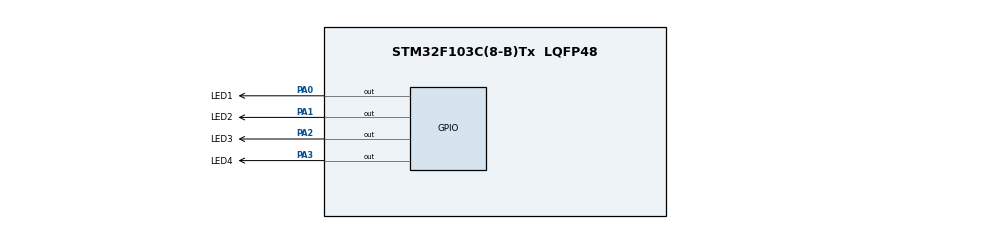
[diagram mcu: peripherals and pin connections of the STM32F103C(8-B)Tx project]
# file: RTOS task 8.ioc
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FREERTOS.BinarySemaphores01=CriticalResourceSemaphore,Dynamic,NULL,Available
FREERTOS.Tasks01=defaultTask,0,128,StartDefaultTask,Default,NULL,Dynamic,NULL,NULL;GreenLEDTask,0,128,green_led,Default,NULL,Dynamic,NULL,NULL;RedLEDTask,0,128,red_led,Default,NULL,Dynamic,NULL,NULL;YellowLEDTask,1,128,yellow_led,Default,NULL,Dynamic,NULL,NULL
Mcu.Family=STM32F1
Mcu.Name=STM32F103C(8-B)Tx
Mcu.Package=LQFP48
NVIC.PriorityGroup=NVIC_PRIORITYGROUP_4
NVIC.TIM4_IRQn=true\:15\:0\:false\:false\:true\:false\:false\:true\:true
NVIC.TimeBase=TIM4_IRQn
NVIC.TimeBaseIP=TIM4
PA0-WKUP.GPIO_Label=LED1
PA0-WKUP.Signal=GPIO_Output
PA1.GPIO_Label=LED2
PA1.Signal=GPIO_Output
PA13.Mode=Serial_Wire
PA13.Signal=SYS_JTMS-SWDIO
PA14.Mode=Serial_Wire
PA14.Signal=SYS_JTCK-SWCLK
PA2.GPIO_Label=LED3
PA2.Signal=GPIO_Output
PA3.GPIO_Label=LED4
PA3.Signal=GPIO_Output
ProjectManager.HeapSize=0x200
ProjectManager.StackSize=0x400
ProjectManager.TargetToolchain=STM32CubeIDE
RCC.APB1Freq_Value=8000000
RCC.APB2Freq_Value=8000000
VP_FREERTOS_VS_CMSIS_V1.Mode=CMSIS_V1
VP_SYS_VS_tim4.Mode=TIM4
board=custom

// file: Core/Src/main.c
/* USER CODE BEGIN Header */
/**
  ******************************************************************************
  * @file           : main.c
  * @brief          : Main program body
  ******************************************************************************
  * @attention
  *
  * Copyright (c) 2024 STMicroelectronics.
  * All rights reserved.
  *
  * This software is licensed under terms that can be found in the LICENSE file
  * in the root directory of this software component.
  * If no LICENSE file comes with this software, it is provided AS-IS.
  *
  ******************************************************************************
  */
/* USER CODE END Header */
#include "main.h"
#include "cmsis_os.h"

/* USER CODE BEGIN Includes */
#include <stdio.h>
/* USER CODE END Includes */

osThreadId defaultTaskHandle;
osThreadId GreenLEDTaskHandle;
osThreadId RedLEDTaskHandle;
osThreadId YellowLEDTaskHandle;
osSemaphoreId CriticalResourceSemaphoreHandle;
/* USER CODE BEGIN PV */
volatile uint8_t startFlag = 1;
volatile uint16_t WaitTimeMilliseconds = 0;
/* USER CODE END PV */

void SystemClock_Config(void);
static void MX_GPIO_Init(void);
void StartDefaultTask(void const * argument);
void green_led(void const * argument);
void red_led(void const * argument);
void yellow_led(void const * argument);

int main(void)
{

  /* MCU Configuration--------------------------------------------------------*/

  /* Reset of all peripherals, Initializes the Flash interface and the Systick. */
  HAL_Init();

  /* Configure the system clock */
  SystemClock_Config();

  /* Initialize all configured peripherals */
  MX_GPIO_Init();

  /* Create the semaphores(s) */
  /* definition and creation of CriticalResourceSemaphore */
  osSemaphoreDef(CriticalResourceSemaphore);
  CriticalResourceSemaphoreHandle = osSemaphoreCreate(osSemaphore(CriticalResourceSemaphore), 1);

  /* Create the thread(s) */
  /* definition and creation of defaultTask */
  osThreadDef(defaultTask, StartDefaultTask, osPriorityNormal, 0, 128);
  defaultTaskHandle = osThreadCreate(osThread(defaultTask), NULL);

  /* definition and creation of GreenLEDTask */
  osThreadDef(GreenLEDTask, green_led, osPriorityNormal, 0, 128);
  GreenLEDTaskHandle = osThreadCreate(osThread(GreenLEDTask), NULL);

  /* definition and creation of RedLEDTask */
  osThreadDef(RedLEDTask, red_led, osPriorityNormal, 0, 128);
  RedLEDTaskHandle = osThreadCreate(osThread(RedLEDTask), NULL);

  /* definition and creation of YellowLEDTask */
  osThreadDef(YellowLEDTask, yellow_led, osPriorityAboveNormal, 0, 128);
  YellowLEDTaskHandle = osThreadCreate(osThread(YellowLEDTask), NULL);

  /* Start scheduler */
  osKernelStart();

  /* We should never get here as control is now taken by the scheduler */

  /* Infinite loop */
  while (1)
  {

  }
}

void SystemClock_Config(void)
{
  RCC_OscInitTypeDef RCC_OscInitStruct = {0};
  RCC_ClkInitTypeDef RCC_ClkInitStruct = {0};

  /** Initializes the RCC Oscillators according to the specified parameters
  * in the RCC_OscInitTypeDef structure.
  */
  RCC_OscInitStruct.OscillatorType = RCC_OSCILLATORTYPE_HSI;
  RCC_OscInitStruct.HSIState = RCC_HSI_ON;
  RCC_OscInitStruct.HSICalibrationValue = RCC_HSICALIBRATION_DEFAULT;
  RCC_OscInitStruct.PLL.PLLState = RCC_PLL_NONE;
  if (HAL_RCC_OscConfig(&RCC_OscInitStruct) != HAL_OK)
  {
    Error_Handler();
  }

  /** Initializes the CPU, AHB and APB buses clocks
  */
  RCC_ClkInitStruct.ClockType = RCC_CLOCKTYPE_HCLK|RCC_CLOCKTYPE_SYSCLK
                              |RCC_CLOCKTYPE_PCLK1|RCC_CLOCKTYPE_PCLK2;
  RCC_ClkInitStruct.SYSCLKSource = RCC_SYSCLKSOURCE_HSI;
  RCC_ClkInitStruct.AHBCLKDivider = RCC_SYSCLK_DIV1;
  RCC_ClkInitStruct.APB1CLKDivider = RCC_HCLK_DIV1;
  RCC_ClkInitStruct.APB2CLKDivider = RCC_HCLK_DIV1;

  if (HAL_RCC_ClockConfig(&RCC_ClkInitStruct, FLASH_LATENCY_0) != HAL_OK)
  {
    Error_Handler();
  }
}

static void MX_GPIO_Init(void)
{
  GPIO_InitTypeDef GPIO_InitStruct = {0};

  /* GPIO Ports Clock Enable */
  __HAL_RCC_GPIOA_CLK_ENABLE();

  /*Configure GPIO pin Output Level */
  HAL_GPIO_WritePin(GPIOA, LED1_Pin|LED2_Pin|LED3_Pin|LED4_Pin, GPIO_PIN_RESET);

  /*Configure GPIO pins : LED1_Pin LED2_Pin LED3_Pin LED4_Pin */
  GPIO_InitStruct.Pin = LED1_Pin|LED2_Pin|LED3_Pin|LED4_Pin;
  GPIO_InitStruct.Mode = GPIO_MODE_OUTPUT_PP;
  GPIO_InitStruct.Pull = GPIO_NOPULL;
  GPIO_InitStruct.Speed = GPIO_SPEED_FREQ_LOW;
  HAL_GPIO_Init(GPIOA, &GPIO_InitStruct);

}

void StartDefaultTask(void const * argument)
{
  /* USER CODE BEGIN 5 */
  /* Infinite loop */
	for(;;)
	  {
	    osDelay(1);
	  }
	  /* USER CODE END StartDefaultTask */
  /* USER CODE END 5 */
}

void green_led(void const * argument)
{
  /* USER CODE BEGIN green_led */
  /* Infinite loop */
	for(;;)
	    {
	        HAL_GPIO_WritePin(GPIOA, GPIO_PIN_0, GPIO_PIN_SET);  // Nyalakan Green LED

	        osSemaphoreWait(CriticalResourceSemaphoreHandle, WaitTimeMilliseconds);
			accessSharedData();
			osSemaphoreRelease(CriticalResourceSemaphoreHandle);
			osDelay(200);

	        HAL_GPIO_WritePin(GPIOA, GPIO_PIN_0, GPIO_PIN_RESET);  // Matikan Green LED
	        osDelay(200);
	    }
  /* USER CODE END green_led */
}

void red_led(void const * argument)
{
  /* USER CODE BEGIN red_led */
  /* Infinite loop */
	for(;;)
	    {
	        HAL_GPIO_WritePin(GPIOA, GPIO_PIN_1, GPIO_PIN_SET);  // Nyalakan Red LED

	        osSemaphoreWait(CriticalResourceSemaphoreHandle, WaitTimeMilliseconds);

	            accessSharedData();

	            osSemaphoreRelease(CriticalResourceSemaphoreHandle);
	            osDelay(550);

	        HAL_GPIO_WritePin(GPIOA, GPIO_PIN_1, GPIO_PIN_RESET);  // Matikan Red LED
	        osDelay(550);
	    }
  /* USER CODE END red_led */
}

void accessSharedData(void) {
    if (startFlag == 1) {
        // Set Start flag to Down to indicate resource is in use
        startFlag = 0;
    } else {
        // Resource contention: Turn on Blue LED
        HAL_GPIO_WritePin(GPIOA, GPIO_PIN_3, GPIO_PIN_SET);
    }

    // Simulate read/write operations with a delay of 500 milliseconds
//    SimulateReadWriteOperation();
    HAL_Delay(500);

    // Set Start flag back to Up to indicate resource is free
    startFlag = 1;

    // Turn off Blue LED (if it was turned on during contention)
    HAL_GPIO_WritePin(GPIOA, GPIO_PIN_3, GPIO_PIN_RESET);
}

void SimulateReadWriteOperation(void) {
    volatile uint32_t delay_count = 0;
    const uint32_t delay_target = 2000000; // Adjust this value to approximate 500 ms

    // Dummy loop to simulate processing time
    for (delay_count = 0; delay_count < delay_target; delay_count++) {
        __asm("nop"); // No Operation: Keeps the processor busy without changing code behavior
    }
}
void yellow_led(void const * argument)
{
  /* USER CODE BEGIN yellow_led */
  /* Infinite loop */
	for(;;)
		    {
		        HAL_GPIO_TogglePin(GPIOA, GPIO_PIN_2);  // Toggle Orange LED
		        osDelay(50);  // 10 Hz flashing rate
		    }
  /* USER CODE END yellow_led */
}

void HAL_TIM_PeriodElapsedCallback(TIM_HandleTypeDef *htim)
{
  if (htim->Instance == TIM4) {
    HAL_IncTick();
  }
}

void Error_Handler(void)
{
  __disable_irq();
  while (1)
  {
  }
}
